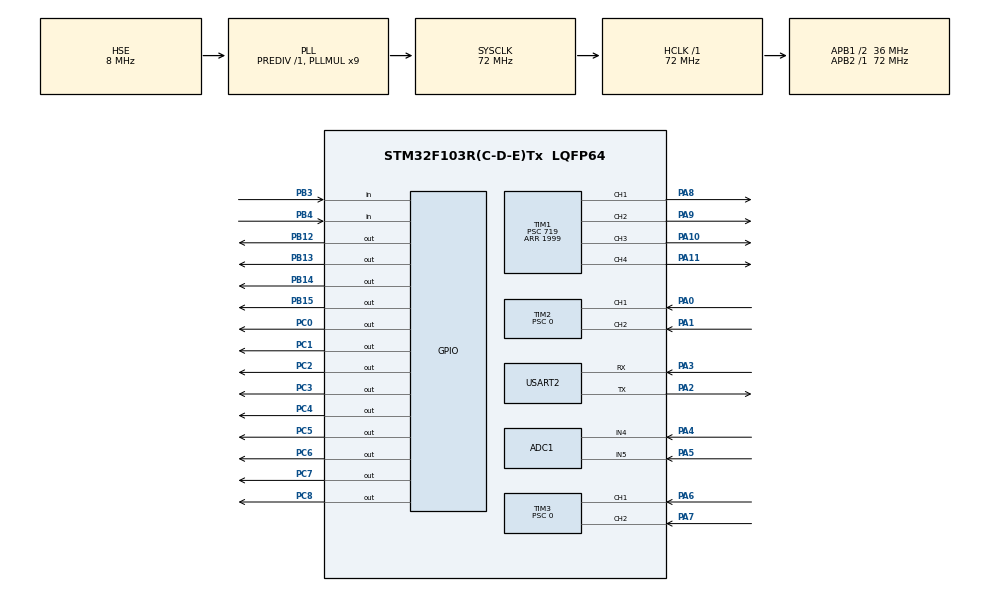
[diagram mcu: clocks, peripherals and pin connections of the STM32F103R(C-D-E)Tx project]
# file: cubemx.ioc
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ADC1.Channel-8\#ChannelRegularConversion=ADC_CHANNEL_4
ADC1.Channel-9\#ChannelRegularConversion=ADC_CHANNEL_5
ADC1.ContinuousConvMode=ENABLE
ADC1.NbrOfConversion=2
ADC1.NbrOfConversionFlag=1
ADC1.Rank-8\#ChannelRegularConversion=1
ADC1.Rank-9\#ChannelRegularConversion=2
ADC1.SamplingTime-8\#ChannelRegularConversion=ADC_SAMPLETIME_239CYCLES_5
ADC1.SamplingTime-9\#ChannelRegularConversion=ADC_SAMPLETIME_239CYCLES_5
ADC1.master=1
Dma.ADC1.2.Direction=DMA_PERIPH_TO_MEMORY
Dma.ADC1.2.Instance=DMA1_Channel1
Dma.ADC1.2.MemDataAlignment=DMA_MDATAALIGN_HALFWORD
Dma.ADC1.2.MemInc=DMA_MINC_ENABLE
Dma.ADC1.2.Mode=DMA_CIRCULAR
Dma.ADC1.2.PeriphDataAlignment=DMA_PDATAALIGN_HALFWORD
Dma.ADC1.2.PeriphInc=DMA_PINC_DISABLE
Dma.ADC1.2.Priority=DMA_PRIORITY_MEDIUM
Dma.Request0=USART2_RX
Dma.Request1=USART2_TX
Dma.Request2=ADC1
Dma.USART2_RX.0.Direction=DMA_PERIPH_TO_MEMORY
Dma.USART2_RX.0.Instance=DMA1_Channel6
Dma.USART2_RX.0.MemDataAlignment=DMA_MDATAALIGN_BYTE
Dma.USART2_RX.0.MemInc=DMA_MINC_ENABLE
Dma.USART2_RX.0.Mode=DMA_CIRCULAR
Dma.USART2_RX.0.PeriphDataAlignment=DMA_PDATAALIGN_BYTE
Dma.USART2_RX.0.PeriphInc=DMA_PINC_DISABLE
Dma.USART2_RX.0.Priority=DMA_PRIORITY_MEDIUM
Dma.USART2_TX.1.Direction=DMA_MEMORY_TO_PERIPH
Dma.USART2_TX.1.Instance=DMA1_Channel7
Dma.USART2_TX.1.MemDataAlignment=DMA_MDATAALIGN_BYTE
Dma.USART2_TX.1.MemInc=DMA_MINC_ENABLE
Dma.USART2_TX.1.Mode=DMA_NORMAL
Dma.USART2_TX.1.PeriphDataAlignment=DMA_PDATAALIGN_BYTE
Dma.USART2_TX.1.PeriphInc=DMA_PINC_DISABLE
Dma.USART2_TX.1.Priority=DMA_PRIORITY_MEDIUM
IWDG.Prescaler=IWDG_PRESCALER_256
IWDG.Reload=32
Mcu.Family=STM32F1
Mcu.Name=STM32F103R(C-D-E)Tx
Mcu.Package=LQFP64
NVIC.DMA1_Channel1_IRQn=true\:0\:0\:false\:false\:true\:false\:true
NVIC.DMA1_Channel6_IRQn=true\:0\:0\:false\:false\:true\:false\:true
NVIC.DMA1_Channel7_IRQn=true\:0\:0\:false\:false\:true\:false\:true
NVIC.PriorityGroup=NVIC_PRIORITYGROUP_4
NVIC.TIM2_IRQn=true\:1\:0\:true\:false\:true\:true\:true
NVIC.TIM3_IRQn=true\:1\:0\:true\:false\:true\:true\:true
NVIC.TIM4_IRQn=true\:0\:0\:false\:false\:true\:true\:true
NVIC.USART2_IRQn=true\:0\:0\:false\:false\:true\:true\:true
PA0-WKUP.GPIO_PuPd=GPIO_PULLUP
PA0-WKUP.Signal=S_TIM2_CH1_ETR
PA1.GPIO_PuPd=GPIO_PULLUP
PA1.Signal=S_TIM2_CH2
PA10.Signal=S_TIM1_CH3
PA11.Signal=S_TIM1_CH4
PA2.Mode=Asynchronous
PA2.Signal=USART2_TX
PA3.Mode=Asynchronous
PA3.Signal=USART2_RX
PA4.Signal=ADCx_IN4
PA5.Signal=ADCx_IN5
PA6.GPIO_PuPd=GPIO_PULLUP
PA6.Signal=S_TIM3_CH1
PA7.GPIO_PuPd=GPIO_PULLUP
PA7.Signal=S_TIM3_CH2
PA8.Signal=S_TIM1_CH1
PA9.Signal=S_TIM1_CH2
PB12.Signal=GPIO_Output
PB13.Signal=GPIO_Output
PB14.Signal=GPIO_Output
PB15.Signal=GPIO_Output
PB3.Signal=GPIO_Input
PB4.Signal=GPIO_Input
PC0.Signal=GPIO_Output
PC1.Signal=GPIO_Output
PC2.Signal=GPIO_Output
PC3.Signal=GPIO_Output
PC4.Signal=GPIO_Output
PC5.Signal=GPIO_Output
PC6.Signal=GPIO_Output
PC7.Signal=GPIO_Output
PC8.Signal=GPIO_Output
PD0-OSC_IN.Mode=HSE-External-Oscillator
PD0-OSC_IN.Signal=RCC_OSC_IN
PD1-OSC_OUT.Mode=HSE-External-Oscillator
PD1-OSC_OUT.Signal=RCC_OSC_OUT
ProjectManager.HeapSize=0x200
ProjectManager.StackSize=0x400
ProjectManager.TargetToolchain=Makefile
RCC.ADCPresc=RCC_ADCPCLK2_DIV6
RCC.AHBFreq_Value=72000000
RCC.APB1CLKDivider=RCC_HCLK_DIV2
RCC.APB1Freq_Value=36000000
RCC.APB1TimFreq_Value=72000000
RCC.APB2Freq_Value=72000000
RCC.APB2TimFreq_Value=72000000
RCC.HCLKFreq_Value=72000000
RCC.PLLMUL=RCC_PLL_MUL9
RCC.PLLSourceVirtual=RCC_PLLSOURCE_HSE
RCC.SYSCLKFreq_VALUE=72000000
RCC.SYSCLKSource=RCC_SYSCLKSOURCE_PLLCLK
RCC.USBFreq_Value=72000000
SH.ADCx_IN4.0=ADC1_IN4,IN4
SH.ADCx_IN5.0=ADC1_IN5,IN5
SH.S_TIM1_CH1.0=TIM1_CH1,PWM Generation1 CH1
SH.S_TIM1_CH2.0=TIM1_CH2,PWM Generation2 CH2
SH.S_TIM1_CH3.0=TIM1_CH3,PWM Generation3 CH3
SH.S_TIM1_CH4.0=TIM1_CH4,PWM Generation4 CH4
SH.S_TIM2_CH1_ETR.0=TIM2_CH1,Encoder_Interface
SH.S_TIM2_CH2.0=TIM2_CH2,Encoder_Interface
SH.S_TIM3_CH1.0=TIM3_CH1,Encoder_Interface
SH.S_TIM3_CH2.0=TIM3_CH2,Encoder_Interface
TIM1.AutoReloadPreload=TIM_AUTORELOAD_PRELOAD_DISABLE
TIM1.Channel-PWM\ Generation1\ CH1=TIM_CHANNEL_1
TIM1.Channel-PWM\ Generation2\ CH2=TIM_CHANNEL_2
TIM1.Channel-PWM\ Generation3\ CH3=TIM_CHANNEL_3
TIM1.Channel-PWM\ Generation4\ CH4=TIM_CHANNEL_4
TIM1.Period=1999
TIM1.Prescaler=719
TIM1.Pulse-PWM\ Generation4\ CH4=150
TIM2.AutoReloadPreload=TIM_AUTORELOAD_PRELOAD_DISABLE
TIM2.EncoderMode=TIM_ENCODERMODE_TI12
TIM2.Prescaler=0
TIM3.EncoderMode=TIM_ENCODERMODE_TI12
TIM3.Prescaler=0
TIM4.AutoReloadPreload=TIM_AUTORELOAD_PRELOAD_ENABLE
TIM4.Period=39999
TIM4.Prescaler=719
USART2.VirtualMode=VM_ASYNC
VP_IWDG_VS_IWDG.Mode=IWDG_Activate
VP_SYS_VS_ND.Mode=No_Debug
VP_TIM1_VS_ClockSourceINT.Mode=Internal
VP_TIM4_VS_ClockSourceINT.Mode=Internal
board=custom

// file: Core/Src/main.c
/* USER CODE BEGIN Header */
/**
  ******************************************************************************
  * @file           : main.c
  * @brief          : Main program body
  ******************************************************************************
  * @attention
  *
  * Copyright (c) 2021 STMicroelectronics.
  * All rights reserved.
  *
  * This software is licensed under terms that can be found in the LICENSE file
  * in the root directory of this software component.
  * If no LICENSE file comes with this software, it is provided AS-IS.
  *
  ******************************************************************************
  */
/* USER CODE END Header */
#include "main.h"

/* USER CODE BEGIN Includes */
#include "private.h"
/* USER CODE END Includes */

ADC_HandleTypeDef hadc1;
DMA_HandleTypeDef hdma_adc1;

IWDG_HandleTypeDef hiwdg;

TIM_HandleTypeDef htim1;
TIM_HandleTypeDef htim2;
TIM_HandleTypeDef htim3;
TIM_HandleTypeDef htim4;

UART_HandleTypeDef huart2;
DMA_HandleTypeDef hdma_usart2_rx;
DMA_HandleTypeDef hdma_usart2_tx;

void SystemClock_Config(void);
static void MX_GPIO_Init(void);
static void MX_TIM1_Init(void);
static void MX_TIM2_Init(void);
static void MX_TIM3_Init(void);
static void MX_TIM4_Init(void);
static void MX_DMA_Init(void);
static void MX_ADC1_Init(void);
static void MX_USART2_UART_Init(void);
static void MX_IWDG_Init(void);

int main(void)
{

  /* MCU Configuration--------------------------------------------------------*/

  /* Reset of all peripherals, Initializes the Flash interface and the Systick. */
  HAL_Init();

  /* Configure the system clock */
  SystemClock_Config();

  /* Initialize all configured peripherals */
  MX_GPIO_Init();
  MX_TIM1_Init();
  MX_TIM2_Init();
  MX_TIM3_Init();
  MX_TIM4_Init();
  MX_DMA_Init();
  MX_ADC1_Init();
  MX_USART2_UART_Init();
  MX_IWDG_Init();
  /* USER CODE BEGIN 2 */

  //uart2
  usr_init_uart2_dma();

  //adc
  usr_init_adc();

  //PA0 disable walk up
  HAL_PWR_DisableWakeUpPin(PWR_WAKEUP_PIN1);
  __HAL_PWR_CLEAR_FLAG(PWR_FLAG_SB);

  //encoder
  usr_init_encoder();

  //pwm
  usr_init_pwm();
  usr_init_pwm_val();

  //timer
  HAL_TIM_Base_Start_IT(&htim4);

  /* USER CODE END 2 */

  /* Infinite loop */
  /* USER CODE BEGIN WHILE */

  //extern uint16_t get_PeriodRight();
  //extern uint16_t get_PeriodServo();
  while (1)
  {
    /* USER CODE END WHILE */

    /* USER CODE BEGIN 3 */
    //static int tmpDir = 1;
    //static int tmpStep = 0;
    //static int tmpCnt = 0;
    FEED_DOG;
    usr_loop_uart2();

    usr_loop_update_estop();
    usr_loop_update_dir();
    usr_loop_update_pwm_left();
    usr_loop_update_pwm_right();
    usr_loop_update_pwm_fly();
    usr_loop_update_pwm_servo();
    usr_loop_update_adc();
    usr_loop_update_bat_status();

#if 0
    if(tmpStep++ > 1000)
    {
      __HAL_TIM_SET_COMPARE(&htim1, TIM_CHANNEL_4, TIM1_PERIOD - get_PeriodServo() + tmpCnt);
      //__HAL_TIM_SET_COMPARE(&htim1, TIM_CHANNEL_2, get_PeriodRight() + tmpCnt);
      tmpCnt += tmpDir * 1;
      if(tmpCnt > 15)
      {
        tmpCnt = 15;
        tmpDir = -1;
      }
      if(tmpCnt < -15)
      {
        tmpCnt = -15;
        tmpDir = 1;
      }

      tmpStep = 0;
    }
#endif
  }
  /* USER CODE END 3 */
}

void SystemClock_Config(void)
{
  RCC_OscInitTypeDef RCC_OscInitStruct = {0};
  RCC_ClkInitTypeDef RCC_ClkInitStruct = {0};
  RCC_PeriphCLKInitTypeDef PeriphClkInit = {0};

  /** Initializes the RCC Oscillators according to the specified parameters
  * in the RCC_OscInitTypeDef structure.
  */
  RCC_OscInitStruct.OscillatorType = RCC_OSCILLATORTYPE_LSI|RCC_OSCILLATORTYPE_HSE;
  RCC_OscInitStruct.HSEState = RCC_HSE_ON;
  RCC_OscInitStruct.HSEPredivValue = RCC_HSE_PREDIV_DIV1;
  RCC_OscInitStruct.HSIState = RCC_HSI_ON;
  RCC_OscInitStruct.LSIState = RCC_LSI_ON;
  RCC_OscInitStruct.PLL.PLLState = RCC_PLL_ON;
  RCC_OscInitStruct.PLL.PLLSource = RCC_PLLSOURCE_HSE;
  RCC_OscInitStruct.PLL.PLLMUL = RCC_PLL_MUL9;
  if (HAL_RCC_OscConfig(&RCC_OscInitStruct) != HAL_OK)
  {
    Error_Handler();
  }
  /** Initializes the CPU, AHB and APB buses clocks
  */
  RCC_ClkInitStruct.ClockType = RCC_CLOCKTYPE_HCLK|RCC_CLOCKTYPE_SYSCLK
                              |RCC_CLOCKTYPE_PCLK1|RCC_CLOCKTYPE_PCLK2;
  RCC_ClkInitStruct.SYSCLKSource = RCC_SYSCLKSOURCE_PLLCLK;
  RCC_ClkInitStruct.AHBCLKDivider = RCC_SYSCLK_DIV1;
  RCC_ClkInitStruct.APB1CLKDivider = RCC_HCLK_DIV2;
  RCC_ClkInitStruct.APB2CLKDivider = RCC_HCLK_DIV1;

  if (HAL_RCC_ClockConfig(&RCC_ClkInitStruct, FLASH_LATENCY_2) != HAL_OK)
  {
    Error_Handler();
  }
  PeriphClkInit.PeriphClockSelection = RCC_PERIPHCLK_ADC;
  PeriphClkInit.AdcClockSelection = RCC_ADCPCLK2_DIV6;
  if (HAL_RCCEx_PeriphCLKConfig(&PeriphClkInit) != HAL_OK)
  {
    Error_Handler();
  }
}

static void MX_ADC1_Init(void)
{

  ADC_ChannelConfTypeDef sConfig = {0};

  /** Common config
  */
  hadc1.Instance = ADC1;
  hadc1.Init.ScanConvMode = ADC_SCAN_ENABLE;
  hadc1.Init.ContinuousConvMode = ENABLE;
  hadc1.Init.DiscontinuousConvMode = DISABLE;
  hadc1.Init.ExternalTrigConv = ADC_SOFTWARE_START;
  hadc1.Init.DataAlign = ADC_DATAALIGN_RIGHT;
  hadc1.Init.NbrOfConversion = 2;
  if (HAL_ADC_Init(&hadc1) != HAL_OK)
  {
    Error_Handler();
  }
  /** Configure Regular Channel
  */
  sConfig.Channel = ADC_CHANNEL_4;
  sConfig.Rank = ADC_REGULAR_RANK_1;
  sConfig.SamplingTime = ADC_SAMPLETIME_239CYCLES_5;
  if (HAL_ADC_ConfigChannel(&hadc1, &sConfig) != HAL_OK)
  {
    Error_Handler();
  }
  /** Configure Regular Channel
  */
  sConfig.Channel = ADC_CHANNEL_5;
  sConfig.Rank = ADC_REGULAR_RANK_2;
  if (HAL_ADC_ConfigChannel(&hadc1, &sConfig) != HAL_OK)
  {
    Error_Handler();
  }

}

static void MX_IWDG_Init(void)
{

  hiwdg.Instance = IWDG;
  hiwdg.Init.Prescaler = IWDG_PRESCALER_256;
  hiwdg.Init.Reload = 32;
  if (HAL_IWDG_Init(&hiwdg) != HAL_OK)
  {
    Error_Handler();
  }

}

static void MX_TIM1_Init(void)
{

  TIM_ClockConfigTypeDef sClockSourceConfig = {0};
  TIM_MasterConfigTypeDef sMasterConfig = {0};
  TIM_OC_InitTypeDef sConfigOC = {0};
  TIM_BreakDeadTimeConfigTypeDef sBreakDeadTimeConfig = {0};

  htim1.Instance = TIM1;
  htim1.Init.Prescaler = 719;
  htim1.Init.CounterMode = TIM_COUNTERMODE_UP;
  htim1.Init.Period = 1999;
  htim1.Init.ClockDivision = TIM_CLOCKDIVISION_DIV1;
  htim1.Init.RepetitionCounter = 0;
  htim1.Init.AutoReloadPreload = TIM_AUTORELOAD_PRELOAD_DISABLE;
  if (HAL_TIM_Base_Init(&htim1) != HAL_OK)
  {
    Error_Handler();
  }
  sClockSourceConfig.ClockSource = TIM_CLOCKSOURCE_INTERNAL;
  if (HAL_TIM_ConfigClockSource(&htim1, &sClockSourceConfig) != HAL_OK)
  {
    Error_Handler();
  }
  if (HAL_TIM_PWM_Init(&htim1) != HAL_OK)
  {
    Error_Handler();
  }
  sMasterConfig.MasterOutputTrigger = TIM_TRGO_RESET;
  sMasterConfig.MasterSlaveMode = TIM_MASTERSLAVEMODE_DISABLE;
  if (HAL_TIMEx_MasterConfigSynchronization(&htim1, &sMasterConfig) != HAL_OK)
  {
    Error_Handler();
  }
  sConfigOC.OCMode = TIM_OCMODE_PWM1;
  sConfigOC.Pulse = 0;
  sConfigOC.OCPolarity = TIM_OCPOLARITY_HIGH;
  sConfigOC.OCNPolarity = TIM_OCNPOLARITY_HIGH;
  sConfigOC.OCFastMode = TIM_OCFAST_DISABLE;
  sConfigOC.OCIdleState = TIM_OCIDLESTATE_RESET;
  sConfigOC.OCNIdleState = TIM_OCNIDLESTATE_RESET;
  if (HAL_TIM_PWM_ConfigChannel(&htim1, &sConfigOC, TIM_CHANNEL_1) != HAL_OK)
  {
    Error_Handler();
  }
  if (HAL_TIM_PWM_ConfigChannel(&htim1, &sConfigOC, TIM_CHANNEL_2) != HAL_OK)
  {
    Error_Handler();
  }
  if (HAL_TIM_PWM_ConfigChannel(&htim1, &sConfigOC, TIM_CHANNEL_3) != HAL_OK)
  {
    Error_Handler();
  }
  sConfigOC.Pulse = 150;
  if (HAL_TIM_PWM_ConfigChannel(&htim1, &sConfigOC, TIM_CHANNEL_4) != HAL_OK)
  {
    Error_Handler();
  }
  sBreakDeadTimeConfig.OffStateRunMode = TIM_OSSR_DISABLE;
  sBreakDeadTimeConfig.OffStateIDLEMode = TIM_OSSI_DISABLE;
  sBreakDeadTimeConfig.LockLevel = TIM_LOCKLEVEL_OFF;
  sBreakDeadTimeConfig.DeadTime = 0;
  sBreakDeadTimeConfig.BreakState = TIM_BREAK_DISABLE;
  sBreakDeadTimeConfig.BreakPolarity = TIM_BREAKPOLARITY_HIGH;
  sBreakDeadTimeConfig.AutomaticOutput = TIM_AUTOMATICOUTPUT_DISABLE;
  if (HAL_TIMEx_ConfigBreakDeadTime(&htim1, &sBreakDeadTimeConfig) != HAL_OK)
  {
    Error_Handler();
  }
  HAL_TIM_MspPostInit(&htim1);

}

static void MX_TIM2_Init(void)
{

  TIM_Encoder_InitTypeDef sConfig = {0};
  TIM_MasterConfigTypeDef sMasterConfig = {0};

  htim2.Instance = TIM2;
  htim2.Init.Prescaler = 0;
  htim2.Init.CounterMode = TIM_COUNTERMODE_UP;
  htim2.Init.Period = 65535;
  htim2.Init.ClockDivision = TIM_CLOCKDIVISION_DIV1;
  htim2.Init.AutoReloadPreload = TIM_AUTORELOAD_PRELOAD_DISABLE;
  sConfig.EncoderMode = TIM_ENCODERMODE_TI12;
  sConfig.IC1Polarity = TIM_ICPOLARITY_RISING;
  sConfig.IC1Selection = TIM_ICSELECTION_DIRECTTI;
  sConfig.IC1Prescaler = TIM_ICPSC_DIV1;
  sConfig.IC1Filter = 0;
  sConfig.IC2Polarity = TIM_ICPOLARITY_RISING;
  sConfig.IC2Selection = TIM_ICSELECTION_DIRECTTI;
  sConfig.IC2Prescaler = TIM_ICPSC_DIV1;
  sConfig.IC2Filter = 0;
  if (HAL_TIM_Encoder_Init(&htim2, &sConfig) != HAL_OK)
  {
    Error_Handler();
  }
  sMasterConfig.MasterOutputTrigger = TIM_TRGO_RESET;
  sMasterConfig.MasterSlaveMode = TIM_MASTERSLAVEMODE_DISABLE;
  if (HAL_TIMEx_MasterConfigSynchronization(&htim2, &sMasterConfig) != HAL_OK)
  {
    Error_Handler();
  }

}

static void MX_TIM3_Init(void)
{

  TIM_Encoder_InitTypeDef sConfig = {0};
  TIM_MasterConfigTypeDef sMasterConfig = {0};

  htim3.Instance = TIM3;
  htim3.Init.Prescaler = 0;
  htim3.Init.CounterMode = TIM_COUNTERMODE_UP;
  htim3.Init.Period = 65535;
  htim3.Init.ClockDivision = TIM_CLOCKDIVISION_DIV1;
  htim3.Init.AutoReloadPreload = TIM_AUTORELOAD_PRELOAD_DISABLE;
  sConfig.EncoderMode = TIM_ENCODERMODE_TI12;
  sConfig.IC1Polarity = TIM_ICPOLARITY_RISING;
  sConfig.IC1Selection = TIM_ICSELECTION_DIRECTTI;
  sConfig.IC1Prescaler = TIM_ICPSC_DIV1;
  sConfig.IC1Filter = 0;
  sConfig.IC2Polarity = TIM_ICPOLARITY_RISING;
  sConfig.IC2Selection = TIM_ICSELECTION_DIRECTTI;
  sConfig.IC2Prescaler = TIM_ICPSC_DIV1;
  sConfig.IC2Filter = 0;
  if (HAL_TIM_Encoder_Init(&htim3, &sConfig) != HAL_OK)
  {
    Error_Handler();
  }
  sMasterConfig.MasterOutputTrigger = TIM_TRGO_RESET;
  sMasterConfig.MasterSlaveMode = TIM_MASTERSLAVEMODE_DISABLE;
  if (HAL_TIMEx_MasterConfigSynchronization(&htim3, &sMasterConfig) != HAL_OK)
  {
    Error_Handler();
  }

}

static void MX_TIM4_Init(void)
{

  TIM_ClockConfigTypeDef sClockSourceConfig = {0};
  TIM_MasterConfigTypeDef sMasterConfig = {0};

  htim4.Instance = TIM4;
  htim4.Init.Prescaler = 719;
  htim4.Init.CounterMode = TIM_COUNTERMODE_UP;
  htim4.Init.Period = 39999;
  htim4.Init.ClockDivision = TIM_CLOCKDIVISION_DIV1;
  htim4.Init.AutoReloadPreload = TIM_AUTORELOAD_PRELOAD_ENABLE;
  if (HAL_TIM_Base_Init(&htim4) != HAL_OK)
  {
    Error_Handler();
  }
  sClockSourceConfig.ClockSource = TIM_CLOCKSOURCE_INTERNAL;
  if (HAL_TIM_ConfigClockSource(&htim4, &sClockSourceConfig) != HAL_OK)
  {
    Error_Handler();
  }
  sMasterConfig.MasterOutputTrigger = TIM_TRGO_RESET;
  sMasterConfig.MasterSlaveMode = TIM_MASTERSLAVEMODE_DISABLE;
  if (HAL_TIMEx_MasterConfigSynchronization(&htim4, &sMasterConfig) != HAL_OK)
  {
    Error_Handler();
  }

}

static void MX_USART2_UART_Init(void)
{

  huart2.Instance = USART2;
  huart2.Init.BaudRate = 115200;
  huart2.Init.WordLength = UART_WORDLENGTH_8B;
  huart2.Init.StopBits = UART_STOPBITS_1;
  huart2.Init.Parity = UART_PARITY_NONE;
  huart2.Init.Mode = UART_MODE_TX_RX;
  huart2.Init.HwFlowCtl = UART_HWCONTROL_NONE;
  huart2.Init.OverSampling = UART_OVERSAMPLING_16;
  if (HAL_UART_Init(&huart2) != HAL_OK)
  {
    Error_Handler();
  }

}

static void MX_DMA_Init(void)
{

  /* DMA controller clock enable */
  __HAL_RCC_DMA1_CLK_ENABLE();

  /* DMA interrupt init */
  /* DMA1_Channel1_IRQn interrupt configuration */
  HAL_NVIC_SetPriority(DMA1_Channel1_IRQn, 0, 0);
  HAL_NVIC_EnableIRQ(DMA1_Channel1_IRQn);
  /* DMA1_Channel6_IRQn interrupt configuration */
  HAL_NVIC_SetPriority(DMA1_Channel6_IRQn, 0, 0);
  HAL_NVIC_EnableIRQ(DMA1_Channel6_IRQn);
  /* DMA1_Channel7_IRQn interrupt configuration */
  HAL_NVIC_SetPriority(DMA1_Channel7_IRQn, 0, 0);
  HAL_NVIC_EnableIRQ(DMA1_Channel7_IRQn);

}

static void MX_GPIO_Init(void)
{
  GPIO_InitTypeDef GPIO_InitStruct = {0};

  /* GPIO Ports Clock Enable */
  __HAL_RCC_GPIOD_CLK_ENABLE();
  __HAL_RCC_GPIOC_CLK_ENABLE();
  __HAL_RCC_GPIOA_CLK_ENABLE();
  __HAL_RCC_GPIOB_CLK_ENABLE();

  /*Configure GPIO pin Output Level */
  HAL_GPIO_WritePin(GPIOC, GPIO_PIN_0|GPIO_PIN_1|GPIO_PIN_2|GPIO_PIN_3
                          |GPIO_PIN_4|GPIO_PIN_5|GPIO_PIN_6|GPIO_PIN_7
                          |GPIO_PIN_8, GPIO_PIN_RESET);

  /*Configure GPIO pin Output Level */
  HAL_GPIO_WritePin(GPIOB, GPIO_PIN_12|GPIO_PIN_13|GPIO_PIN_14|GPIO_PIN_15, GPIO_PIN_RESET);

  /*Configure GPIO pins : PC0 PC1 PC2 PC3
                           PC4 PC5 PC6 PC7
                           PC8 */
  GPIO_InitStruct.Pin = GPIO_PIN_0|GPIO_PIN_1|GPIO_PIN_2|GPIO_PIN_3
                          |GPIO_PIN_4|GPIO_PIN_5|GPIO_PIN_6|GPIO_PIN_7
                          |GPIO_PIN_8;
  GPIO_InitStruct.Mode = GPIO_MODE_OUTPUT_PP;
  GPIO_InitStruct.Pull = GPIO_NOPULL;
  GPIO_InitStruct.Speed = GPIO_SPEED_FREQ_LOW;
  HAL_GPIO_Init(GPIOC, &GPIO_InitStruct);

  /*Configure GPIO pins : PB12 PB13 PB14 PB15 */
  GPIO_InitStruct.Pin = GPIO_PIN_12|GPIO_PIN_13|GPIO_PIN_14|GPIO_PIN_15;
  GPIO_InitStruct.Mode = GPIO_MODE_OUTPUT_PP;
  GPIO_InitStruct.Pull = GPIO_NOPULL;
  GPIO_InitStruct.Speed = GPIO_SPEED_FREQ_LOW;
  HAL_GPIO_Init(GPIOB, &GPIO_InitStruct);

  /*Configure GPIO pins : PB3 PB4 */
  GPIO_InitStruct.Pin = GPIO_PIN_3|GPIO_PIN_4;
  GPIO_InitStruct.Mode = GPIO_MODE_INPUT;
  GPIO_InitStruct.Pull = GPIO_NOPULL;
  HAL_GPIO_Init(GPIOB, &GPIO_InitStruct);

}

void Error_Handler(void)
{
  __disable_irq();
  while (1)
  {
  }
}
